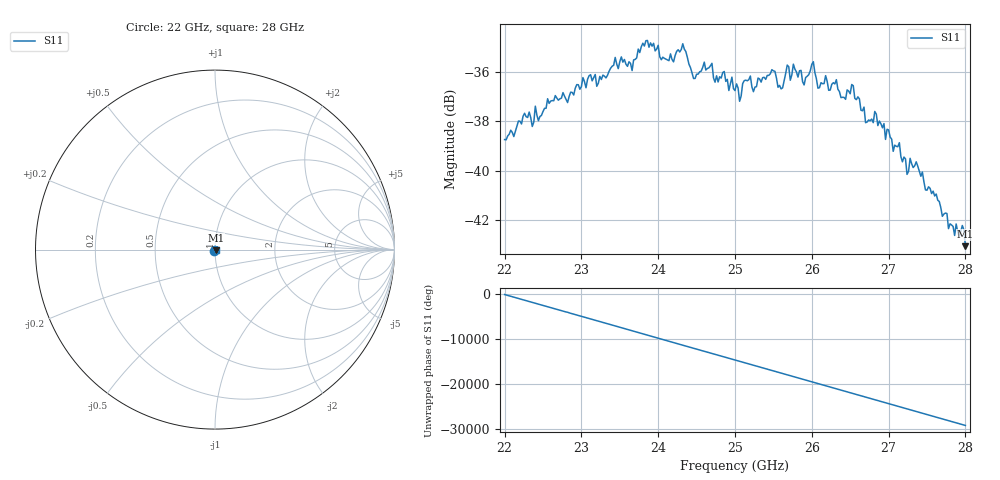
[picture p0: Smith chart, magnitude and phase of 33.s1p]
#  HZ  S  RI  R  50.00
! Rohde & Schwarz ZVA40 4Ports - Version 3.90 - 1145.1110k42 SN: 100403
! Date: 2023-10-04 08:43:38
! Measurement: S12
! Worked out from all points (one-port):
!   301 points, 22 GHz to 28 GHz, reference 50 ohm
!   lowest |S11| = -43.1 dB at 28 GHz (marker M1), VSWR 1.01, Z = 50.6 - j0.384 ohm
!   |S11| at or under -10 dB: start of sweep to end of sweep
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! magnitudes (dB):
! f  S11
! 22 GHz  -38.7
! 22.76 GHz  -36.8
! 23.5 GHz  -35.6
! 23.66 GHz  -36.0
! 23.84 GHz  -34.7
! 24.04 GHz  -35.5
! 24.26 GHz  -35.1
! 24.32 GHz  -34.9
! 24.46 GHz  -36.3
! 24.7 GHz  -35.7
! 24.74 GHz  -36.4
! 25 GHz  -36.8
! 25.48 GHz  -35.9
! 25.6 GHz  -36.7
! 25.76 GHz  -35.7
! 25.9 GHz  -36.5
! 26.02 GHz  -35.6
! 26.08 GHz  -36.7
! 26.5 GHz  -36.9
! 26.7 GHz  -38.1
! 26.94 GHz  -38.1
! 27.06 GHz  -39.2
! 27.14 GHz  -38.9
! 27.26 GHz  -40.0
! 27.36 GHz  -39.6
! 27.78 GHz  -42.4
! 27.96 GHz  -42.2
! 28 GHz  -43.1
